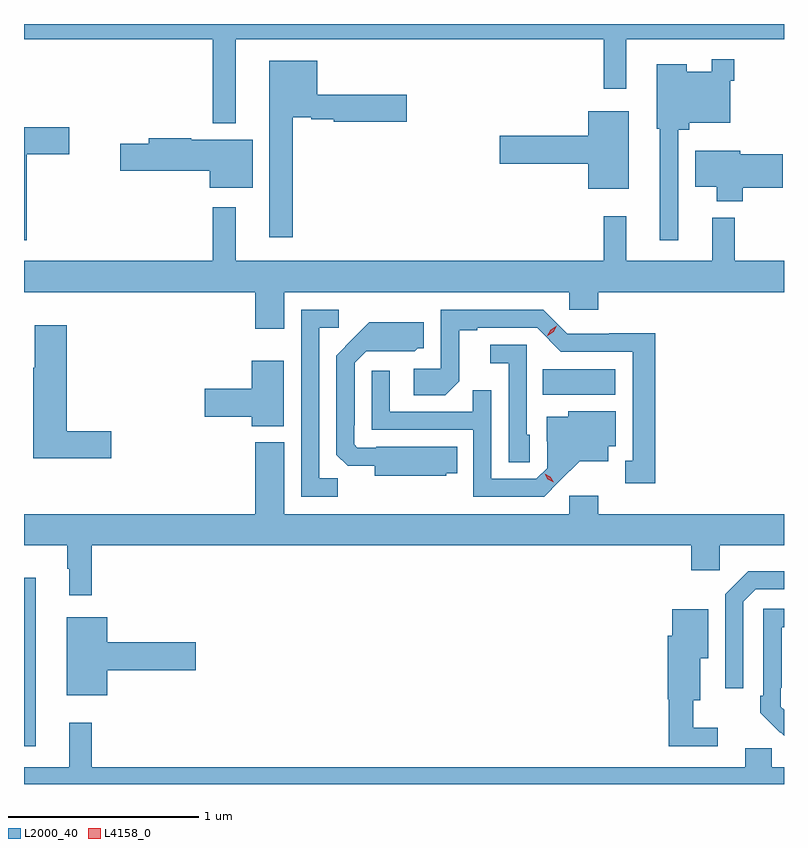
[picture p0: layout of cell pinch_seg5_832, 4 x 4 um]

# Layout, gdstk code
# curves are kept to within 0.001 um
import gdstk
lib = gdstk.Library(unit=1e-6, precision=1e-09)
def R(c, l, rs):  # rectangles x0, y0, x1, y1
    for r in rs: c.add(gdstk.rectangle(r[:2], r[2:], *l))
def P(c, l, *ps):  # polygons
    for p in ps: c.add(gdstk.Polygon(p, *l))
L2000_40 = (2000, 40)
L4158_0 = (4158, 0)

pinch_seg5_832 = lib.new_cell('pinch_seg5_832')
R(pinch_seg5_832, L2000_40, [(769.779,875.682,769.84,876.568), (772.51,877.532,772.891,877.666)])
P(pinch_seg5_832, L2000_40, [(772.831,879.141),(772.948,879.141),(772.948,879.404),(773.779,879.404),(773.779,879.483),(769.779,879.483),(769.779,879.404),(770.772,879.404),(770.772,879.067),(770.773,879.067),(770.773,878.96),(770.893,878.96),(770.893,879.404),(772.831,879.404)],
  [(773.223,878.927),(773.279,878.927),(773.279,878.963),(773.496,878.963),(773.496,879.185),(773.516,879.185),(773.516,879.298),(773.399,879.298),(773.399,879.232),(773.266,879.232),(773.266,879.271),(773.108,879.271),(773.108,878.931),(773.126,878.931),(773.126,878.346),(773.223,878.346)],
  [(771.193,878.993),(771.29,878.993),(771.29,878.981),(771.408,878.981),(771.408,878.969),(771.793,878.969),(771.793,879.111),(771.322,879.111),(771.322,879.289),(771.071,879.289),(771.071,878.361),(771.193,878.361)],
  [(772.963,879.025),(772.748,879.025),(772.748,878.894),(772.284,878.894),(772.284,878.747),(772.748,878.747),(772.748,878.615),(772.963,878.615)],
  [(769.793,878.798),(770.017,878.798),(770.017,878.94),(769.779,878.94),(769.779,878.346),(769.793,878.346)],
  [(770.983,878.875),(770.66,878.875),(770.66,878.882),(770.435,878.882),(770.435,878.852),(770.286,878.852),(770.286,878.71),(770.756,878.71),(770.756,878.621),(770.983,878.621)],
  [(773.561,878.62),(773.773,878.62),(773.773,878.798),(773.548,878.798),(773.548,878.815),(773.312,878.815),(773.312,878.627),(773.426,878.627),(773.426,878.549),(773.561,878.549)],
  [(771.148,878.072),(772.65,878.072),(772.65,877.979),(772.802,877.979),(772.802,878.072),(773.779,878.072),(773.779,878.236),(773.519,878.236),(773.519,878.464),(773.402,878.464),(773.402,878.236),(772.949,878.236),(772.949,878.47),(772.831,878.47),(772.831,878.236),(770.893,878.236),(770.893,878.518),(770.772,878.518),(770.772,878.236),(769.779,878.236),(769.779,878.072),(770.996,878.072),(770.996,877.878),(771.148,877.878)],
  [(771.429,877.091),(771.333,877.091),(771.333,877.884),(771.436,877.884),(771.436,877.98),(771.237,877.98),(771.237,876.996),(771.429,876.996)],
  [(773.101,877.856),(772.86,877.856),(772.86,877.854),(772.638,877.854),(772.512,877.98),(771.972,877.98),(771.972,877.668),(771.831,877.668),(771.831,877.528),(771.995,877.528),(772.071,877.604),(772.071,877.872),(772.165,877.872),(772.165,877.884),(772.479,877.884),(772.605,877.758),(772.982,877.758),(772.982,877.185),(772.943,877.185),(772.943,877.065),(773.101,877.065)],
  [(772.002,877.118),(772.058,877.118),(772.058,877.258),(771.634,877.258),(771.634,877.254),(771.534,877.254),(771.516,877.272),(771.516,877.372),(771.519,877.372),(771.519,877.701),(771.579,877.761),(771.836,877.76),(771.852,877.776),(771.883,877.776),(771.883,877.912),(771.595,877.912),(771.423,877.738),(771.423,877.216),(771.482,877.157),(771.626,877.157),(771.626,877.106),(772.002,877.106)],
  [(770.239,877.34),(770.003,877.34),(770.003,877.897),(769.835,877.897),(769.835,877.673),(769.828,877.673),(769.828,877.198),(770.239,877.198)],
  [(772.44,877.32),(772.425,877.32),(772.425,877.794),(772.233,877.794),(772.233,877.697),(772.329,877.697),(772.329,877.177),(772.44,877.177)],
  [(771.145,877.711),(770.978,877.711),(770.978,877.562),(770.73,877.562),(770.73,877.415),(770.978,877.415),(770.978,877.367),(771.145,877.367)],
  [(772.6,877.079),(772.703,877.181),(772.855,877.181),(772.855,877.26),(772.894,877.26),(772.894,877.444),(772.644,877.444),(772.644,877.417),(772.529,877.417),(772.529,877.288),(772.533,877.288),(772.533,877.146),(772.476,877.089),(772.239,877.089),(772.239,877.556),(772.141,877.556),(772.141,877.443),(771.705,877.443),(771.705,877.657),(771.609,877.657),(771.609,877.347),(772.143,877.347),(772.143,876.996),(772.516,876.996)],
  [(770.135,876.74),(773.291,876.74),(773.291,876.609),(773.442,876.609),(773.442,876.74),(773.779,876.74),(773.779,876.904),(772.802,876.904),(772.802,877),(772.65,877),(772.65,876.904),(771.148,876.904),(771.148,877.282),(770.996,877.282),(770.996,876.904),(769.779,876.904),(769.779,876.74),(770.007,876.74),(770.007,876.617),(770.018,876.617),(770.018,876.477),(770.135,876.477)],
  [(773.565,876.441),(773.631,876.507),(773.779,876.507),(773.779,876.604),(773.59,876.604),(773.469,876.483),(773.469,875.988),(773.565,875.988)],
  [(773.779,875.873),(773.763,875.889),(773.763,875.989),(773.766,875.989),(773.766,876.309),(773.779,876.309),(773.779,876.405),(773.67,876.405),(773.67,875.947),(773.655,875.947),(773.655,875.859),(773.76,875.754),(773.761,875.755),(773.779,875.737)],
  [(773.431,875.779),(773.302,875.779),(773.302,875.924),(773.338,875.924),(773.338,876.146),(773.38,876.146),(773.38,876.403),(773.192,876.403),(773.192,876.264),(773.168,876.264),(773.168,875.928),(773.173,875.928),(773.173,875.682),(773.431,875.682)],
  [(770.218,876.083),(770.683,876.083),(770.683,876.23),(770.218,876.23),(770.218,876.361),(770.003,876.361),(770.003,875.951),(770.218,875.951)],
  [(773.779,875.572),(773.715,875.572),(773.715,875.67),(773.576,875.67),(773.576,875.572),(770.135,875.572),(770.135,875.806),(770.018,875.806),(770.018,875.572),(769.779,875.572),(769.779,875.483),(773.779,875.483)])
P(pinch_seg5_832, L4158_0, [(772.534,877.842),(772.534,877.842),(772.551,877.875),(772.582,877.895),(772.582,877.895),(772.582,877.894),(772.566,877.862),(772.535,877.842)],
  [(772.566,877.071),(772.536,877.086),(772.519,877.115),(772.519,877.115),(772.519,877.115),(772.55,877.1),(772.567,877.071),(772.567,877.071)])

lib.write_gds('pinch_seg5_832.gds')
